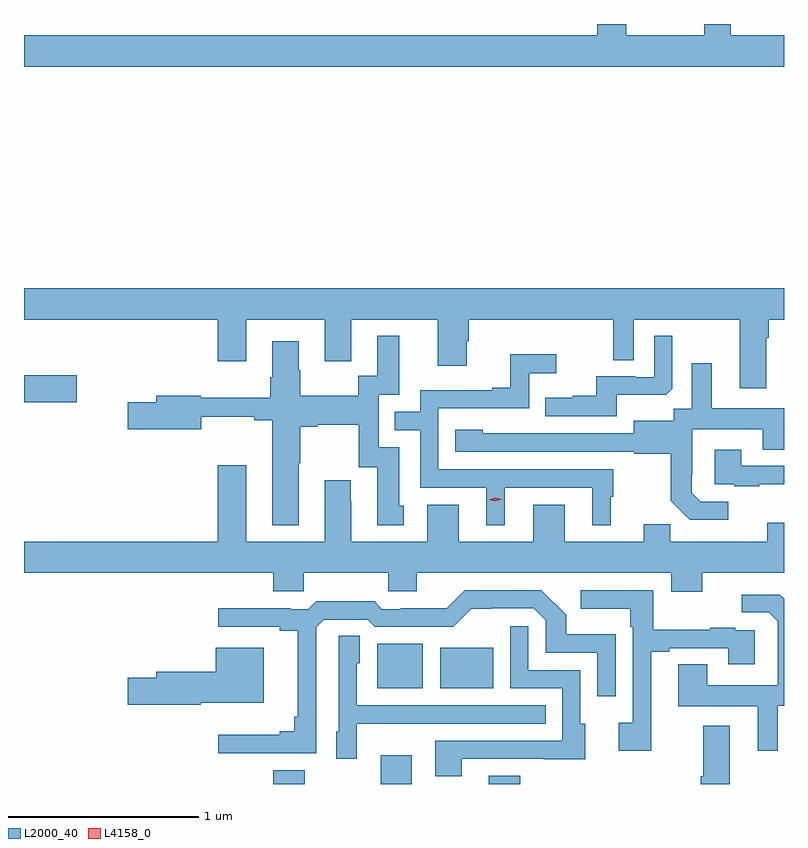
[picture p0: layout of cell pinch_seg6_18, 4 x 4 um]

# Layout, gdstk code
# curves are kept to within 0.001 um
import gdstk
lib = gdstk.Library(unit=1e-6, precision=1e-09)
def R(c, l, rs):  # rectangles x0, y0, x1, y1
    for r in rs: c.add(gdstk.rectangle(r[:2], r[2:], *l))
def P(c, l, *ps):  # polygons
    for p in ps: c.add(gdstk.Polygon(p, *l))
L2000_40 = (2000, 40)
L4158_0 = (4158, 0)

pinch_seg6_18 = lib.new_cell('pinch_seg6_18')
R(pinch_seg6_18, L2000_40, [(962.861,958.212,963.025,958.285), (963.425,958.212,963.589,958.363), (963.995,958.212,964.159,958.255), (963.407,958.715,963.646,958.951), (963.74,958.715,964.018,958.93), (961.548,960.221,961.825,960.363)])
P(pinch_seg6_18, L2000_40, [(965.548,962.152),(965.269,962.152),(965.269,962.212),(965.129,962.212),(965.129,962.152),(964.717,962.152),(964.717,962.212),(964.565,962.212),(964.565,962.152),(961.548,962.152),(961.548,961.988),(965.548,961.988)],
  [(965.455,960.56),(965.468,960.56),(965.468,960.656),(965.548,960.656),(965.548,960.82),(961.548,960.82),(961.548,960.656),(962.567,960.656),(962.567,960.438),(962.719,960.438),(962.719,960.656),(963.131,960.656),(963.131,960.438),(963.271,960.438),(963.271,960.656),(963.725,960.656),(963.725,960.414),(963.877,960.414),(963.877,960.543),(963.89,960.543),(963.89,960.656),(964.65,960.656),(964.65,960.442),(964.758,960.442),(964.758,960.656),(965.315,960.656),(965.315,960.294),(965.455,960.294)],
  [(964.669,960.26),(964.927,960.26),(964.959,960.291),(964.959,960.571),(964.866,960.571),(964.866,960.354),(964.766,960.354),(964.766,960.357),(964.559,960.357),(964.559,960.256),(964.435,960.256),(964.435,960.244),(964.291,960.244),(964.291,960.147),(964.669,960.147)],
  [(962.995,959.899),(963.003,959.899),(963.003,960.092),(963.091,960.092),(963.091,960.104),(963.311,960.104),(963.311,959.88),(963.407,959.88),(963.407,959.574),(963.547,959.574),(963.547,959.676),(963.523,959.676),(963.523,959.985),(963.414,959.985),(963.414,960.261),(963.523,960.261),(963.523,960.571),(963.407,960.571),(963.407,960.362),(963.306,960.362),(963.306,960.256),(963.003,960.256),(963.003,960.39),(962.995,960.39),(962.995,960.541),(962.855,960.541),(962.855,960.352),(962.843,960.352),(962.843,960.245),(962.478,960.245),(962.478,960.256),(962.243,960.256),(962.243,960.222),(962.094,960.222),(962.094,960.08),(962.482,960.08),(962.482,960.145),(962.759,960.145),(962.759,960.127),(962.855,960.127),(962.855,959.573),(962.995,959.573)],
  [(964.078,959.772),(964.538,959.772),(964.538,959.573),(964.636,959.573),(964.636,959.724),(964.648,959.724),(964.648,959.868),(963.729,959.868),(963.729,960.189),(964.206,960.189),(964.206,960.374),(964.348,960.374),(964.348,960.473),(964.108,960.473),(964.108,960.298),(964.013,960.298),(964.013,960.285),(963.633,960.285),(963.633,960.171),(963.499,960.171),(963.499,960.075),(963.633,960.075),(963.633,959.772),(963.98,959.772),(963.98,959.573),(964.078,959.573)],
  [(965.254,959.697),(965.109,959.697),(965.062,959.744),(965.062,959.839),(965.064,959.839),(965.064,960.08),(965.435,960.08),(965.435,959.971),(965.548,959.971),(965.548,960.19),(965.167,960.19),(965.167,960.427),(965.063,960.427),(965.063,960.188),(964.968,960.188),(964.968,960.124),(964.757,960.124),(964.757,960.057),(963.963,960.058),(963.963,960.076),(963.819,960.076),(963.819,959.961),(964.761,959.961),(964.761,959.949),(964.953,959.949),(964.953,959.703),(965.053,959.603),(965.254,959.603)],
  [(965.419,959.789),(965.548,959.789),(965.548,959.886),(965.323,959.886),(965.323,959.971),(965.183,959.971),(965.183,959.79),(965.287,959.79),(965.287,959.778),(965.419,959.778)],
  [(965.119,959.324),(965.548,959.324),(965.548,959.587),(965.459,959.587),(965.459,959.488),(964.949,959.488),(964.949,959.579),(964.811,959.579),(964.811,959.488),(964.393,959.488),(964.393,959.683),(964.229,959.683),(964.229,959.488),(963.835,959.488),(963.835,959.683),(963.671,959.683),(963.671,959.488),(963.271,959.488),(963.271,959.699),(963.268,959.699),(963.268,959.812),(963.131,959.812),(963.131,959.488),(962.719,959.488),(962.719,959.89),(962.567,959.89),(962.567,959.488),(961.548,959.488),(961.548,959.324),(962.861,959.324),(962.861,959.226),(963.021,959.226),(963.021,959.324),(963.466,959.324),(963.466,959.226),(963.616,959.226),(963.616,959.324),(964.955,959.324),(964.955,959.225),(965.119,959.225)],
  [(963.087,959.037),(963.126,959.076),(963.357,959.076),(963.393,959.04),(963.807,959.04),(963.902,959.135),(964.23,959.136),(964.293,959.073),(964.293,958.902),(964.566,958.902),(964.566,958.674),(964.662,958.674),(964.662,958.999),(964.401,958.999),(964.401,959.102),(964.27,959.232),(963.867,959.232),(963.773,959.138),(963.532,959.138),(963.532,959.133),(963.432,959.133),(963.393,959.173),(963.085,959.173),(963.045,959.133),(962.951,959.133),(962.951,959.138),(962.571,959.138),(962.571,959.04),(962.894,959.04),(962.894,959.018),(962.99,959.018),(962.99,958.567),(962.971,958.567),(962.971,958.49),(962.894,958.49),(962.894,958.471),(962.571,958.471),(962.571,958.374),(963.087,958.374)],
  [(964.849,958.908),(964.945,958.908),(964.945,958.926),(965.255,958.926),(965.255,958.842),(965.395,958.842),(965.395,959.022),(965.291,959.022),(965.291,959.035),(965.159,959.035),(965.159,959.024),(964.861,959.024),(964.861,959.232),(964.479,959.232),(964.479,959.135),(964.74,959.135),(964.74,959.039),(964.752,959.039),(964.752,958.534),(964.677,958.534),(964.677,958.386),(964.849,958.386)],
  [(965.515,958.624),(965.548,958.624),(965.548,959.186),(965.525,959.209),(965.325,959.209),(965.325,959.115),(965.469,959.115),(965.516,959.068),(965.516,958.973),(965.514,958.973),(965.514,958.732),(965.143,958.732),(965.143,958.841),(964.991,958.841),(964.991,958.622),(965.411,958.622),(965.411,958.386),(965.515,958.386)],
  [(963.853,958.344),(964.283,958.344),(964.283,958.343),(964.501,958.343),(964.501,958.53),(964.476,958.53),(964.476,958.812),(964.203,958.812),(964.203,959.041),(964.107,959.041),(964.107,958.716),(964.38,958.716),(964.38,958.44),(963.713,958.44),(963.713,958.254),(963.853,958.254)],
  [(963.3,958.529),(963.617,958.529),(963.617,958.53),(964.295,958.53),(964.295,958.626),(963.3,958.626),(963.3,958.848),(963.316,958.848),(963.316,958.991),(963.204,958.991),(963.204,958.488),(963.191,958.488),(963.191,958.344),(963.3,958.344)],
  [(962.478,958.64),(962.809,958.64),(962.809,958.93),(962.558,958.93),(962.558,958.802),(962.243,958.802),(962.243,958.772),(962.094,958.772),(962.094,958.63),(962.478,958.63)],
  [(965.263,958.519),(965.123,958.519),(965.123,958.252),(965.111,958.252),(965.111,958.212),(965.263,958.212)])
P(pinch_seg6_18, L4158_0, [(964.029,959.699),(963.993,959.708),(963.993,959.708),(963.993,959.708),(964.029,959.719),(964.065,959.711),(964.065,959.71),(964.065,959.71)])

lib.write_gds('pinch_seg6_18.gds')
